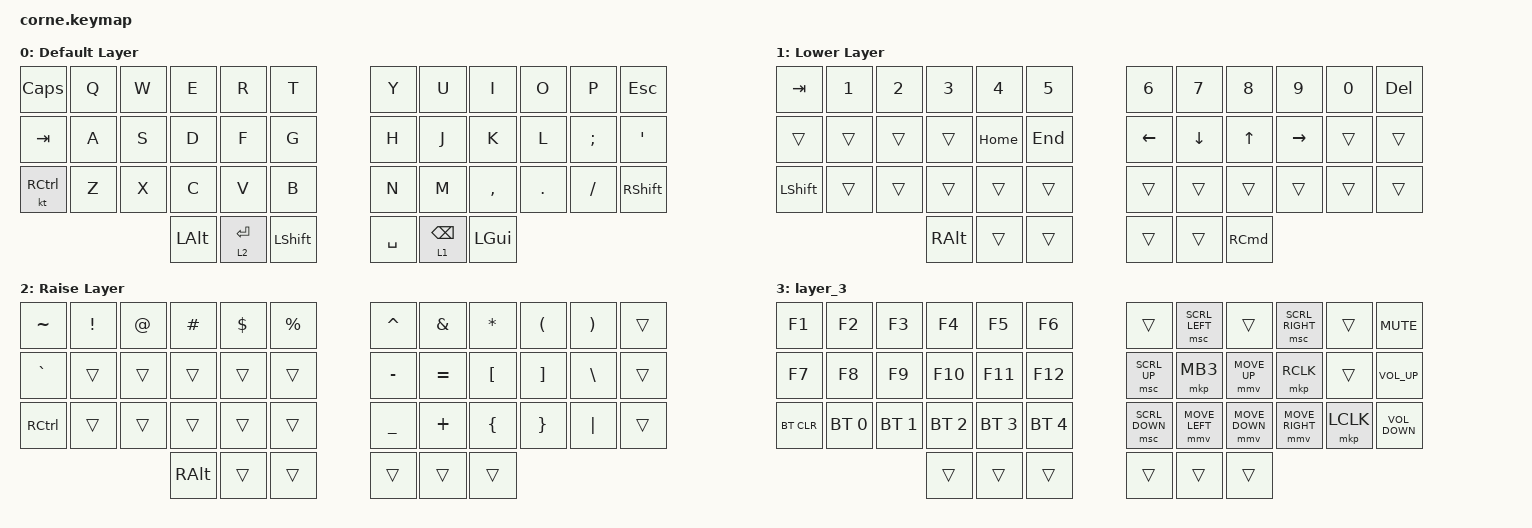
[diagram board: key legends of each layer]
/*
 * Copyright (c) 2020 The ZMK Contributors
 *
 * SPDX-License-Identifier: MIT
 */

#define ZMK_POINTING_DEFAULT_MOVE_VAL 1500
#define ZMK_POINTING_DEFAULT_SCRL_VAL 20

#include <behaviors.dtsi>
#include <dt-bindings/zmk/bt.h>
#include <dt-bindings/zmk/keys.h>
#include <dt-bindings/zmk/pointing.h>

/ {
    combos {
        compatible = "zmk,combos";

        hold_L3 {
            bindings = <&mo 3>;
            key-positions = <37 40>;
        };
    };

    behaviors {
        Space_or_Shft: Space_or_Shft {
            compatible = "zmk,behavior-hold-tap";
            label = "SPACE_OR_SHFT";
            bindings = <&kp>, <&kp>;

            #binding-cells = <2>;
            flavor = "balanced";
            tapping-term-ms = <135>;
            quick-tap-ms = <175>;
            hold-trigger-key-positions = <39 38>;
        };
    };

    keymap {
        compatible = "zmk,keymap";

        default_layer {
            display-name = "Default Layer";

            // -----------------------------------------------------------------------------------------
            // |  TAB |  Q  |  W  |  E  |  R  |  T  |   |  Y  |  U   |  I  |  O  |  P  | BSPC |
            // | CTRL |  A  |  S  |  D  |  F  |  G  |   |  H  |  J   |  K  |  L  |  ;  |  '   |
            // | SHFT |  Z  |  X  |  C  |  V  |  B  |   |  N  |  M   |  ,  |  .  |  /  | ESC  |
            //                    | GUI | LWR | SPC |   | ENT | RSE  | ALT |

            bindings = <
&kp CAPSLOCK       &kp Q  &kp W  &kp E         &kp R        &kp T             &kp Y      &kp U            &kp I      &kp O    &kp P     &kp ESCAPE
&kp TAB            &kp A  &kp S  &kp D         &kp F        &kp G             &kp H      &kp J            &kp K      &kp L    &kp SEMI  &kp SQT
&kt RIGHT_CONTROL  &kp Z  &kp X  &kp C         &kp V        &kp B             &kp N      &kp M            &kp COMMA  &kp DOT  &kp FSLH  &kp RIGHT_SHIFT
                                 &kp LEFT_ALT  &lt 2 ENTER  &kp LEFT_SHIFT    &kp SPACE  &lt 1 BACKSPACE  &kp LGUI
            >;
        };

        lower_layer {
            display-name = "Lower Layer";

            // -----------------------------------------------------------------------------------------
            // |  TAB |  1  |  2  |  3  |  4  |  5  |   |  6  |  7  |  8  |  9  |  0  | BSPC |
            // | BTCLR| BT1 | BT2 | BT3 | BT4 | BT5 |   | LFT | DWN |  UP | RGT |     |      |
            // | SHFT |     |     |     |     |     |   |     |     |     |     |     |      |
            //                    | GUI |     | SPC |   | ENT |     | ALT |

            bindings = <
&kp TAB    &kp N1  &kp N2  &kp N3         &kp N4    &kp N5     &kp N6    &kp N7    &kp N8             &kp N9     &kp N0  &kp DEL
&trans     &trans  &trans  &trans         &kp HOME  &kp END    &kp LEFT  &kp DOWN  &kp UP             &kp RIGHT  &trans  &trans
&kp LSHFT  &trans  &trans  &trans         &trans    &trans     &trans    &trans    &trans             &trans     &trans  &trans
                           &kp RIGHT_ALT  &trans    &trans     &trans    &trans    &kp RIGHT_COMMAND
            >;
        };

        raise_layer {
            display-name = "Raise Layer";

            // -----------------------------------------------------------------------------------------
            // |  TAB |  !  |  @  |  #  |  $  |  %  |   |  ^  |  &  |  *  |  (  |  )  | BSPC |
            // | CTRL |     |     |     |     |     |   |  -  |  =  |  [  |  ]  |  \  |  `   |
            // | SHFT |     |     |     |     |     |   |  _  |  +  |  {  |  }  | "|" |  ~   |
            //                    | GUI |     | SPC |   | ENT |     | ALT |

            bindings = <
&kp TILDE          &kp EXCL  &kp AT  &kp HASH       &kp DLLR  &kp PRCNT    &kp CARET  &kp AMPS   &kp ASTRK         &kp LPAR           &kp RPAR  &trans
&kp GRAVE          &trans    &trans  &trans         &trans    &trans       &kp MINUS  &kp EQUAL  &kp LEFT_BRACKET  &kp RIGHT_BRACKET  &kp BSLH  &trans
&kp RIGHT_CONTROL  &trans    &trans  &trans         &trans    &trans       &kp UNDER  &kp PLUS   &kp LEFT_BRACE    &kp RIGHT_BRACE    &kp PIPE  &trans
                                     &kp RIGHT_ALT  &trans    &trans       &trans     &trans     &trans
            >;
        };

        layer_3 {
            bindings = <
&kp F1      &kp F2        &kp F3        &kp F4        &kp F5        &kp F6          &trans          &msc SCRL_LEFT  &trans          &msc SCRL_RIGHT  &trans     &kp K_MUTE
&kp F7      &kp F8        &kp F9        &kp F10       &kp F11       &kp F12         &msc SCRL_UP    &mkp MB3        &mmv MOVE_UP    &mkp RCLK        &trans     &kp K_VOLUME_UP
&bt BT_CLR  &bt BT_SEL 0  &bt BT_SEL 1  &bt BT_SEL 2  &bt BT_SEL 3  &bt BT_SEL 4    &msc SCRL_DOWN  &mmv MOVE_LEFT  &mmv MOVE_DOWN  &mmv MOVE_RIGHT  &mkp LCLK  &kp K_VOLUME_DOWN
                                        &trans        &trans        &trans          &trans          &trans          &trans
            >;
        };
    };
};
